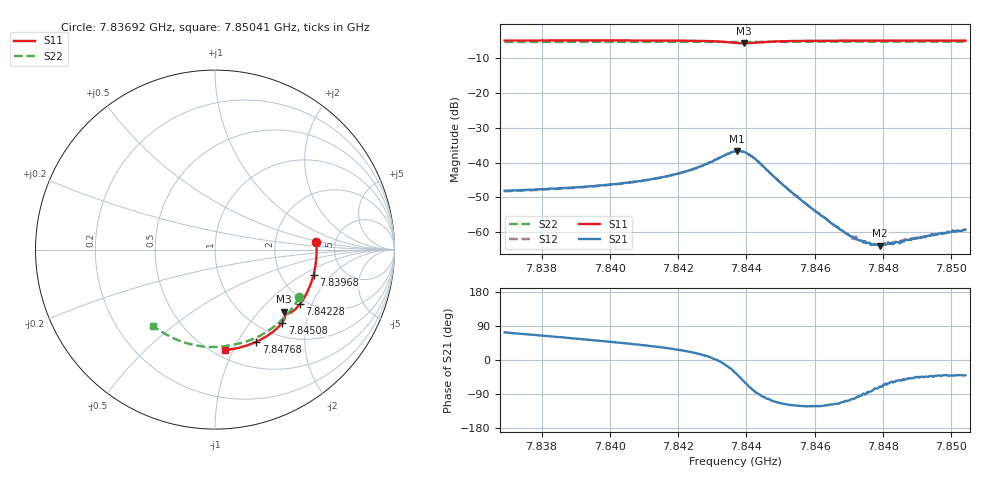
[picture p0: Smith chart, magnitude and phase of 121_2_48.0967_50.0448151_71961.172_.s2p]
#  HZ  S  RI  R  50.00
! Rohde & Schwarz Vector Network Analyzer
! Rohde-Schwarz,ZNB20-2Port,1311601062101988,3.16
! Created: UTC 12/23/2023, 3:46:45 AM
! freq[Hz]  re:S11  im:S11  re:S21  im:S21  re:S12  im:S12  re:S22  im:S22
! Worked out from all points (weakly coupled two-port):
!   401 points, 7.83692 GHz to 7.85041 GHz, reference 50 ohm
!   highest |S21| = -36.70 dB at 7.84373 GHz (marker M1); lowest = -63.8 dB at 7.84791 GHz (marker M2)
!   lowest |S11| = -5.7 dB at 7.84393 GHz (marker M3), VSWR 3.14, Z = 73.3 - j69.2 ohm
!   |S11| at or under -10 dB: nowhere
!   |S22| runs from -5.4 to -5.3 dB; largest |S21 - S12| = 0.00032
!   S11 on the Smith chart (normalised r, x): 7.83692 GHz: 3.55, +0.43; 7.83968 GHz: 3.03, -1.27; 7.84228 GHz: 1.84, -1.64; 7.84508 GHz: 1.24, -1.46; 7.84768 GHz: 0.80, -1.20; 7.85041 GHz: 0.57, -0.93
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7.836919e9  0.5647 0.0409  0.00116 0.00378  0.00117 0.00367  0.4699 -0.265
7.839178e9  0.5564 -0.1088  0.00255 0.00365  0.00255 0.00364  0.3736 -0.3903
7.839684e9  0.5489 -0.1419  0.00294 0.00362  0.00294 0.00359  0.3474 -0.4142
7.841438e9  0.5055 -0.2535  0.005 0.00338  0.00494 0.00337  0.2453 -0.4823
7.842281e9  0.4731 -0.3046  0.00701 0.00291  0.00698 0.00295  0.1909 -0.5064
7.843158e9  0.4229 -0.3498  0.0114 -0.000229  0.0114 -0.000279  0.132 -0.5242
7.843664e9  0.3875 -0.353  0.012 -0.0079  0.0121 -0.00785  0.0982 -0.5302
7.843731e9  0.3849 -0.3513  0.0114 -0.0091  0.0115 -0.00904  0.0938 -0.5308
7.843933e9  0.3833 -0.3463  0.00771 -0.0119  0.0077 -0.0118  0.081 -0.5331
7.844237e9  0.3906 -0.3527  0.00154 -0.0114  0.00153 -0.0113  0.0615 -0.5366
7.84508e9  0.374 -0.4074  -0.00203 -0.00428  -0.00199 -0.00427  0.00259 -0.5426
7.845923e9  0.3319 -0.451  -0.00116 -0.00183  -0.00117 -0.00187  -0.0568 -0.5406
7.84653e9  0.2981 -0.4762  -0.000597 -0.00114  -0.0006 -0.00115  -0.0992 -0.5349
7.847036e9  0.2685 -0.4941  -0.000221 -0.00085  -0.000223 -0.000867  -0.1339 -0.5276
7.847238e9  0.2564 -0.5007  -0.000109 -0.000781  -0.000114 -0.000794  -0.1477 -0.5241
7.847677e9  0.2299 -0.5137  9.98e-05 -0.000654  8.71e-05 -0.000659  -0.1773 -0.5151
7.847913e9  0.2153 -0.5201  0.000223 -0.000603  0.000228 -0.000601  -0.1928 -0.5095
7.848183e9  0.1987 -0.5269  0.000325 -0.000593  0.000343 -0.000599  -0.2105 -0.5029
7.84852e9  0.1773 -0.5343  0.000439 -0.000586  0.000483 -0.000575  -0.2321 -0.4935
7.849161e9  0.1362 -0.546  0.000609 -0.0006  0.00061 -0.000599  -0.272 -0.473
7.849363e9  0.1231 -0.5493  0.000657 -0.0006  0.00066 -0.000622  -0.2844 -0.4657
7.850409e9  0.0544 -0.5597  0.000827 -0.000698  0.000831 -0.000729  -0.3444 -0.424
